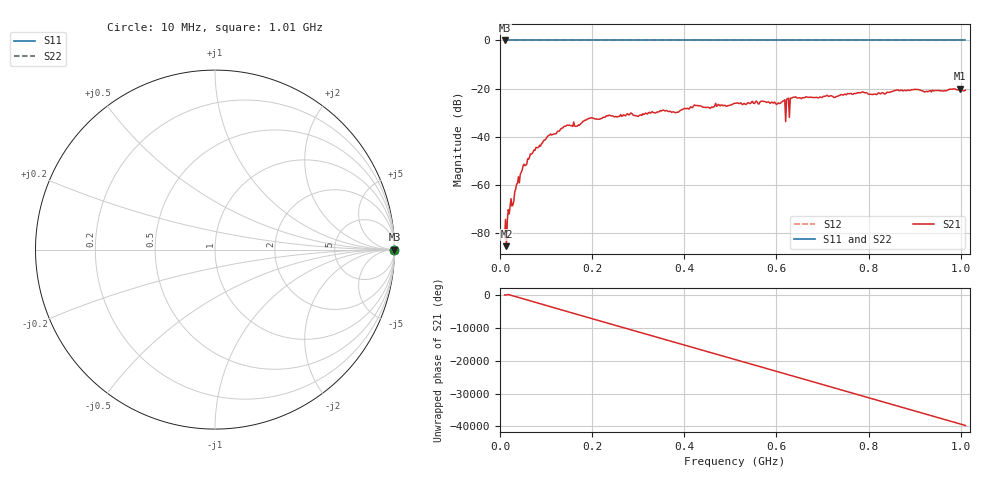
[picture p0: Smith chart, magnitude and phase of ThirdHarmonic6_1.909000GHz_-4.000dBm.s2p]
! 8/16/2025 11:01:45 PM
! C:\ANRITSUVNA\TEMP\TEMP.S2P
! CHANNEL.1
! TR.MEASUREMENT
! RAW.DATA
! RF.CORRECTION.OFF
! AVERAGING.OFF
! IF.BANDWIDTH: 5KHZ
! SWEEPTYPE:  FREQ.SWEEP(Linear)
! Reference Plane Port Info
! PORT:  PORT1  PORT2
! DISTANCE:  0  m  0  m
! TIME:  0  s  0  s
! PHASE.OFFSET:  0  deg.  0  deg.
! LOSS:  0  dB  0  dB
! REF.LOSS:  0  dB  0  dB
! REF.FREQ:  0  Hz  0  Hz
! Power Info
! POWER:  -20  dBm  -20  dBm
! EFF.POWER:  -20  dBm  -20  dBm
! SOURCE.ATTEN:  0  dB  0  dB
! TEST.ATTEN:  0  dB  0  dB
# GHZ S RI R 50.0
! FREQ.GHZ  S11RE  S11IM  S21RE  S21IM  S12RE  S12IM  S22RE  S22IM
!; PortSelection: Port_12
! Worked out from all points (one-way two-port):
!   501 points, 10 MHz to 1.01 GHz, reference 50 ohm
!   highest |S21| = -20.04 dB at 998 MHz (marker M1); lowest = -85.3 dB at 14 MHz (marker M2)
!   lowest |S11| = 0.0 dB at 10 MHz (marker M3)
!   |S11| at or under -10 dB: nowhere
!   |S22| runs from 0.0 to 0.0 dB; largest |S21 - S12| = 1.1
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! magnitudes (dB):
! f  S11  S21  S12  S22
! 10 MHz  0.0  -81.7  0.0  0.0
! 14 MHz  0.0  -85.3  0.0  0.0
! 20 MHz  0.0  -71.9  0.0  0.0
! 30 MHz  0.0  -66.6  0.0  0.0
! 36 MHz  0.0  -59.5  0.0  0.0
! 48 MHz  0.0  -53.8  0.0  0.0
! 70 MHz  0.0  -46.8  0.0  0.0
! 106 MHz  0.0  -39.3  0.0  0.0
! 142 MHz  0.0  -35.5  0.0  0.0
! 178 MHz  0.0  -34.1  0.0  0.0
! 196 MHz  0.0  -32.2  0.0  0.0
! 344 MHz  0.0  -29.7  0.0  0.0
! 510 MHz  0.0  -26.0  0.0  0.0
! 614 MHz  0.0  -25.1  0.0  0.0
! 624 MHz  0.0  -24.1  0.0  0.0
! 626 MHz  0.0  -23.9  0.0  0.0
! 632 MHz  0.0  -23.9  0.0  0.0
! 634 MHz  0.0  -23.8  0.0  0.0
! 678 MHz  0.0  -23.6  0.0  0.0
! 844 MHz  0.0  -21.5  0.0  0.0
! 998 MHz  0.0  -20.0  0.0  0.0
! 1.01 GHz  0.0  -20.6  0.0  0.0
